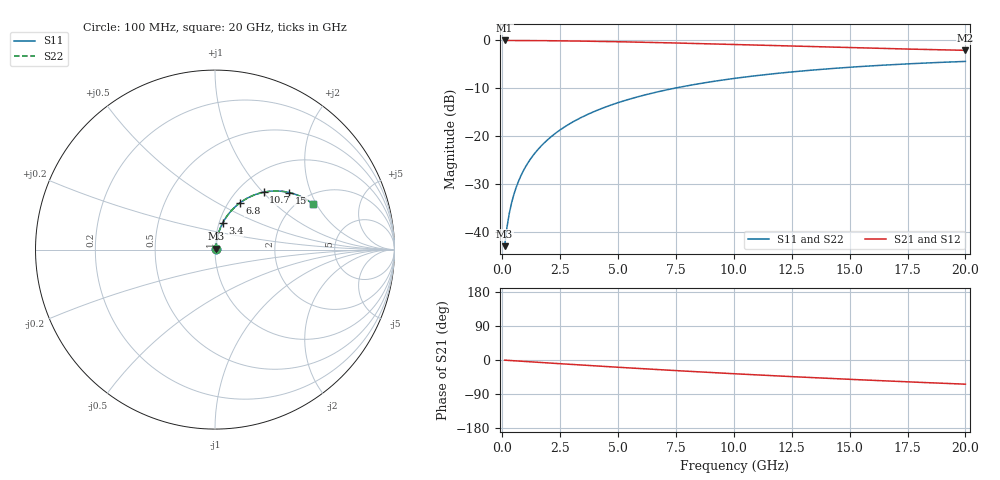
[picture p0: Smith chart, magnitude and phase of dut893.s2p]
! Touchstone file exported from HFSS 2026.1.0
!  File:  C:/ffzhzh/LocalFiles/Ansys_Project_Files/temp_train_TMRDL_893_1783157704_22436.aedt
!  Generated:  05:36:32 PM Jul  4, 2026
!  Design:  TMRDL
!  Project:  temp_train_TMRDL_893_1783157704_22436
! Variables:
!  h_bsmrdl = 2um
!  h_ox = 20um
!  h_rdl = 5um
!  h_sub = 80um
!  h_tmrdl = 4.54um
!  h_tsv = 80um
!  h_via = 3um
!  l_bsmrdl = 300um
!  l_sub = 1378.92um
!  l_tmrdl = 978.92um
!  m_sub = 200um
!  pitch = 51.98um
!  r_tsv = 6um
!  s_tmrdl = 10um
!  w_bsmrdl = 18um
!  w_sub = 500um
!  w_tmrdl = 15.06um
!  x_tsv_center1 = 986.45um
!  x_tsv_center2 = 1304.45um
!  x_tsv_center3 = 2298.43um
!  x_tsv_center4 = 2616.43um
!  x_tsv_center5 = 3610.41um
!  x_tsv_center6 = 3928.41um
# GHz S MA R 50.000000
! Terminal data exported
! Port[1] = TM_RDL1_1_T1
! Port[2] = TM_RDL1_1_T2
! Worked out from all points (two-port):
!   200 points, 100 MHz to 20 GHz, reference 50 ohm
!   highest |S21| = -0.04 dB at 100 MHz (marker M1); lowest = -2.1 dB at 20 GHz (marker M2)
!   |S21| within 3 dB of the highest: start of sweep to end of sweep
!   lowest |S11| = -43.0 dB at 100 MHz (marker M3), VSWR 1.01, Z = 50.5 + j0.494 ohm
!   |S11| at or under -10 dB: start of sweep to 7.455 GHz
!   |S22| runs from -43.0 to -4.4 dB; largest |S21 - S12| = 6.2e-15
!   S11 on the Smith chart (normalised r, x): 100 MHz: 1.01, +0.01; 3.4 GHz: 1.04, +0.32; 6.8 GHz: 1.13, +0.64; 10.7 GHz: 1.30, +1.01; 15 GHz: 1.64, +1.43; 20 GHz: 2.36, +1.87
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0.1  0.007093 43.5  0.9949 -0.4  0.9949 -0.4  0.007093 43.5
! Gamma 0 0 0 0
! Port Impedance 50 0 50 0
0.2  0.01109 60.9  0.9947 -0.8  0.9947 -0.8  0.01109 60.9
0.3  0.01551 68.4  0.9945 -1.2  0.9945 -1.2  0.01551 68.4
0.4  0.02003 72.3  0.9943 -1.6  0.9943 -1.6  0.02003 72.3
0.5  0.02458 74.7  0.994 -2.0  0.994 -2.0  0.02458 74.7
0.7  0.03375 77.2  0.9936 -2.8  0.9936 -2.8  0.03375 77.2
1  0.04756 78.7  0.9928 -4.0  0.9928 -4.0  0.04756 78.7
1.4  0.066 79.0  0.9915 -5.5  0.9915 -5.5  0.066 79.0
2  0.09348 78.0  0.9888 -7.8  0.9888 -7.8  0.09348 78.0
2.6  0.1206 76.3  0.9853 -10.2  0.9853 -10.2  0.1206 76.3
3.4  0.1559 73.8  0.9796 -13.2  0.9796 -13.2  0.1559 73.8
3.5  0.1602 73.4  0.9788 -13.6  0.9788 -13.6  0.1602 73.4
4.2  0.1901 71.0  0.9727 -16.2  0.9727 -16.2  0.1901 71.0
5  0.2231 68.3  0.9648 -19.2  0.9648 -19.2  0.2231 68.3
6.8  0.2926 62.1  0.9445 -25.6  0.9445 -25.6  0.2926 62.1
8.3  0.3453 57.2  0.9257 -30.7  0.9257 -30.7  0.3453 57.2
10.1  0.402 51.5  0.9019 -36.5  0.9019 -36.5  0.402 51.5
10.7  0.4194 49.7  0.8939 -38.4  0.8939 -38.4  0.4194 49.7
13.4  0.4883 41.8  0.8581 -46.5  0.8581 -46.5  0.4883 41.8
15  0.5224 37.4  0.838 -51.0  0.838 -51.0  0.5224 37.5
16.7  0.5536 33.0  0.8181 -55.5  0.8181 -55.5  0.5536 33.0
20  0.6012 24.9  0.7847 -63.8  0.7847 -63.8  0.6012 24.9
